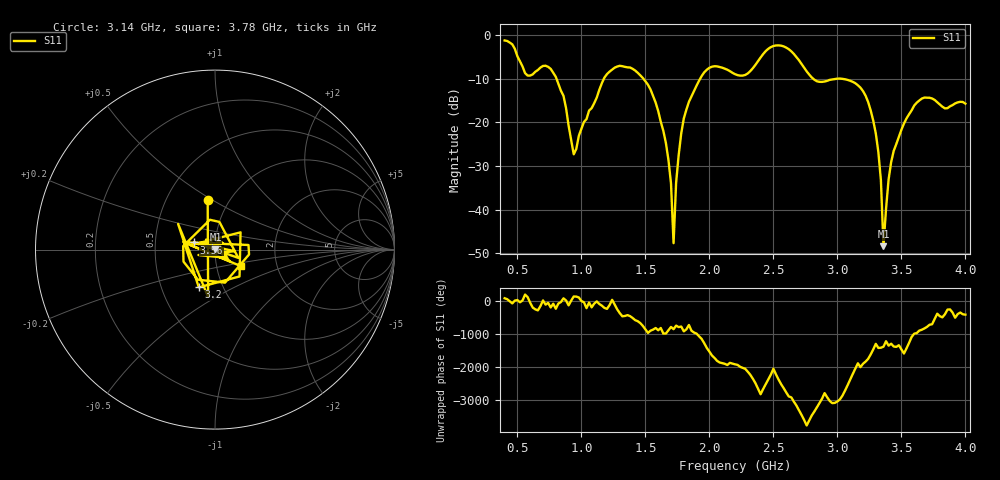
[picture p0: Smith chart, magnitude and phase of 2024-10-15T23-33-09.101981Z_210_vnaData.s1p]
! Created with skrf (http://scikit-rf.org).
# Hz S RI R 50.0
!freq ReS11 ImS11
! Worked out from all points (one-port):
!   181 points, 400 MHz to 4 GHz, reference 50 ohm
!   lowest |S11| = -48.3 dB at 3.36 GHz (marker M1), VSWR 1.01, Z = 50.3 + j0.273 ohm
!   |S11| at or under -10 dB: 805.5 MHz to 1.175 GHz (369.9 MHz wide, 37.3 % of centre); 1.485 GHz to 1.927 GHz (442.7 MHz wide, 26 % of centre); 3.037 GHz to end of sweep (the widest 3 of 4)
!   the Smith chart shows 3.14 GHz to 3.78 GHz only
!   S11 on the Smith chart (normalised r, x): 3.14 GHz: 0.79, +0.48; 3.2 GHz: 0.77, -0.34; 3.56 GHz: 0.79, +0.06; 3.78 GHz: 1.31, -0.25
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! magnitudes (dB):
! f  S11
! 400 MHz  -1.2
! 760 MHz  -7.7
! 860 MHz  -13.9
! 940 MHz  -27.3
! 1.18 GHz  -9.7
! 1.3 GHz  -7.0
! 1.6 GHz  -17.4
! 1.68 GHz  -28.6
! 1.7 GHz  -34.0
! 1.72 GHz  -47.7
! 1.74 GHz  -33.8
! 1.76 GHz  -27.5
! 1.82 GHz  -17.1
! 1.94 GHz  -9.3
! 2.2 GHz  -8.9
! 2.5 GHz  -2.5
! 2.66 GHz  -4.3
! 2.84 GHz  -10.6
! 3.1 GHz  -10.5
! 3.14 GHz  -11.0
! 3.2 GHz  -12.8
! 3.32 GHz  -26.8
! 3.34 GHz  -33.3
! 3.36 GHz  -48.3
! 3.42 GHz  -29.1
! 3.56 GHz  -18.1
! 3.78 GHz  -15.4
! 4 GHz  -15.7
